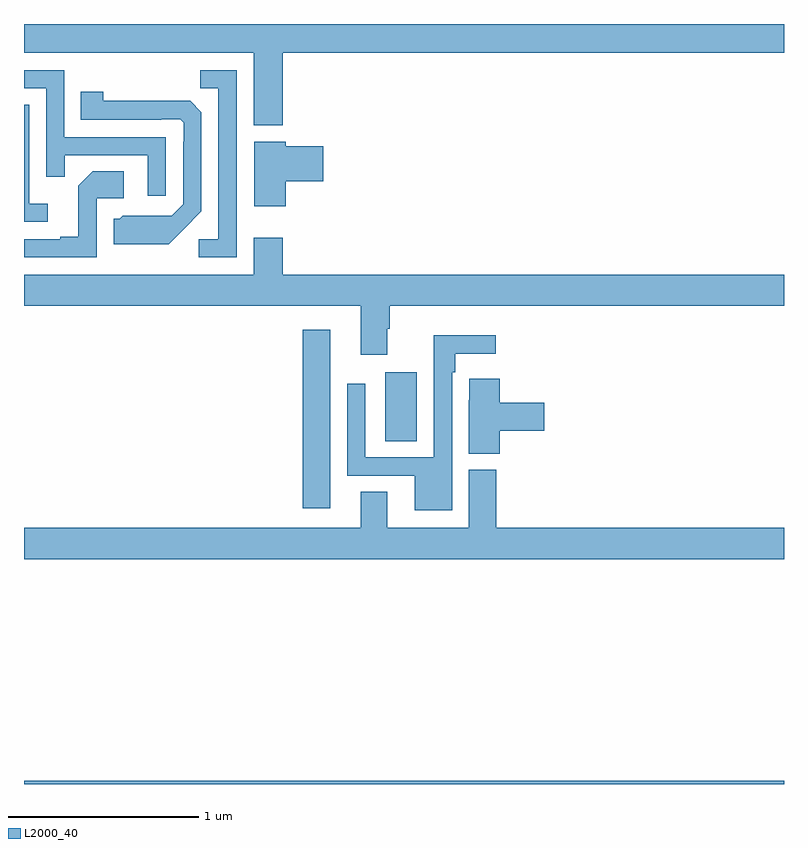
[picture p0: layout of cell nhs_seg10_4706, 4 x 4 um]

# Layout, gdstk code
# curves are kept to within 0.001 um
import gdstk
lib = gdstk.Library(unit=1e-6, precision=1e-09)
def R(c, l, rs):  # rectangles x0, y0, x1, y1
    for r in rs: c.add(gdstk.rectangle(r[:2], r[2:], *l))
def P(c, l, *ps):  # polygons
    for p in ps: c.add(gdstk.Polygon(p, *l))
L2000_40 = (2000, 40)

nhs_seg10_4706 = lib.new_cell('nhs_seg10_4706')
R(nhs_seg10_4706, L2000_40, [(381,1264.5,385,1264.516), (382.466,1265.952,382.612,1266.892), (382.901,1266.304,383.068,1266.667)])
P(nhs_seg10_4706, L2000_40, [(382.361,1268.348),(385,1268.348),(385,1268.5),(381,1268.5),(381,1268.348),(382.208,1268.348),(382.208,1267.968),(382.361,1267.968)],
  [(382.119,1268.256),(381.928,1268.256),(381.928,1268.161),(382.023,1268.161),(382.023,1267.368),(381.921,1267.368),(381.921,1267.272),(382.119,1267.272)],
  [(381.747,1267.905),(381.213,1267.905),(381.213,1268.256),(381,1268.256),(381,1268.163),(381.117,1268.163),(381.117,1267.696),(381.215,1267.696),(381.215,1267.809),(381.651,1267.809),(381.651,1267.596),(381.747,1267.596)],
  [(381.841,1267.421),(381.933,1267.514),(381.933,1268.036),(381.874,1268.095),(381.417,1268.096),(381.417,1268.143),(381.298,1268.143),(381.298,1267.995),(381.722,1267.995),(381.722,1267.998),(381.822,1267.998),(381.84,1267.98),(381.84,1267.88),(381.837,1267.88),(381.837,1267.551),(381.777,1267.491),(381.52,1267.492),(381.504,1267.476),(381.473,1267.476),(381.473,1267.34),(381.761,1267.34)],
  [(381.124,1267.555),(381.027,1267.555),(381.027,1268.075),(381,1268.075),(381,1267.458),(381.124,1267.458)],
  [(382.378,1267.673),(382.576,1267.673),(382.576,1267.856),(382.378,1267.856),(382.378,1267.879),(382.211,1267.879),(382.211,1267.542),(382.378,1267.542)],
  [(381.384,1267.584),(381.526,1267.584),(381.526,1267.724),(381.361,1267.724),(381.285,1267.648),(381.285,1267.381),(381.191,1267.381),(381.191,1267.368),(381,1267.368),(381,1267.272),(381.384,1267.272)],
  [(382.912,1266.896),(382.925,1266.896),(382.925,1267.016),(385,1267.016),(385,1267.18),(382.361,1267.18),(382.361,1267.375),(382.208,1267.375),(382.208,1267.18),(381,1267.18),(381,1267.016),(382.772,1267.016),(382.772,1266.759),(382.912,1266.759)],
  [(383.253,1266.668),(383.269,1266.668),(383.269,1266.764),(383.482,1266.764),(383.482,1266.862),(383.157,1266.862),(383.157,1266.219),(382.797,1266.219),(382.797,1266.607),(382.701,1266.607),(382.701,1266.123),(383.057,1266.123),(383.057,1265.942),(383.253,1265.942)],
  [(383.504,1266.359),(383.737,1266.359),(383.737,1266.506),(383.504,1266.506),(383.504,1266.634),(383.343,1266.634),(383.343,1266.521),(383.342,1266.521),(383.342,1266.238),(383.504,1266.238)],
  [(385,1265.848),(383.486,1265.848),(383.486,1266.153),(383.342,1266.153),(383.342,1265.848),(382.912,1265.848),(382.912,1266.038),(382.772,1266.038),(382.772,1265.848),(381,1265.848),(381,1265.684),(385,1265.684)])

lib.write_gds('nhs_seg10_4706.gds')
